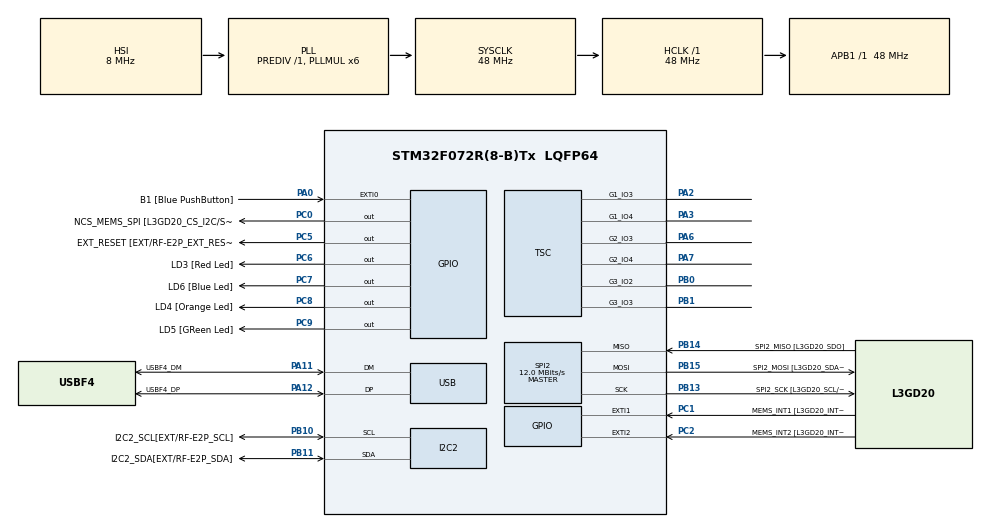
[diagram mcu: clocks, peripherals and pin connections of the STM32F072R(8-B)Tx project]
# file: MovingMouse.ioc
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I2C2.Timing=0x20303E5D
Mcu.Family=STM32F0
Mcu.Name=STM32F072R(8-B)Tx
Mcu.Package=LQFP64
NVIC.EXTI0_1_IRQn=true\:0\:0\:false\:false\:true\:true\:true
NVIC.USB_IRQn=true\:0\:0\:false\:false\:true\:false\:true
PA0.GPIO_Label=B1 [Blue PushButton]
PA0.GPIO_ModeDefaultEXTI=GPIO_MODE_IT_RISING
PA0.Signal=GPXTI0
PA11.GPIO_Label=USBF4_DM
PA11.Mode=Device
PA11.Signal=USB_DM
PA12.GPIO_Label=USBF4_DP
PA12.Mode=Device
PA12.Signal=USB_DP
PA13.GPIO_Label=SWDIO
PA13.Mode=Serial_Wire
PA13.Signal=SYS_SWDIO
PA14.GPIO_Label=SWCLK
PA14.Mode=Serial_Wire
PA14.Signal=SYS_SWCLK
PA2.Mode=G1_IO3-Channel
PA2.Signal=TSC_G1_IO3
PA3.Mode=G1_IO4-Sampling
PA3.Signal=TSC_G1_IO4
PA6.Mode=G2_IO3-Channel
PA6.Signal=TSC_G2_IO3
PA7.Mode=G2_IO4-Sampling
PA7.Signal=TSC_G2_IO4
PB0.Mode=G3_IO2-Channel
PB0.Signal=TSC_G3_IO2
PB1.Mode=G3_IO3-Sampling
PB1.Signal=TSC_G3_IO3
PB10.GPIO_Label=I2C2_SCL[EXT/RF-E2P_SCL]
PB10.Mode=I2C
PB10.Signal=I2C2_SCL
PB11.GPIO_Label=I2C2_SDA[EXT/RF-E2P_SDA]
PB11.Mode=I2C
PB11.Signal=I2C2_SDA
PB13.GPIO_Label=SPI2_SCK [L3GD20_SCL/SPC]
PB13.Mode=Full_Duplex_Master
PB13.Signal=SPI2_SCK
PB14.GPIO_Label=SPI2_MISO [L3GD20_SDO]
PB14.Mode=Full_Duplex_Master
PB14.Signal=SPI2_MISO
PB15.GPIO_Label=SPI2_MOSI [L3GD20_SDA/SDI]
PB15.Mode=Full_Duplex_Master
PB15.Signal=SPI2_MOSI
PC0.GPIO_Label=NCS_MEMS_SPI [L3GD20_CS_I2C/SPI]
PC0.Signal=GPIO_Output
PC1.GPIO_Label=MEMS_INT1 [L3GD20_INT1]
PC1.GPIO_ModeDefaultEXTI=GPIO_MODE_EVT_RISING
PC1.Signal=GPXTI1
PC2.GPIO_Label=MEMS_INT2 [L3GD20_INT2]
PC2.GPIO_ModeDefaultEXTI=GPIO_MODE_EVT_RISING
PC2.Signal=GPXTI2
PC5.GPIO_Label=EXT_RESET [EXT/RF-E2P_EXT_RESET]
PC5.Signal=GPIO_Output
PC6.GPIO_Label=LD3 [Red Led]
PC6.Signal=GPIO_Output
PC7.GPIO_Label=LD6 [Blue Led]
PC7.Signal=GPIO_Output
PC8.GPIO_Label=LD4 [Orange Led]
PC8.Signal=GPIO_Output
PC9.GPIO_Label=LD5 [GReen Led]
PC9.Signal=GPIO_Output
ProjectManager.HeapSize=0x200
ProjectManager.StackSize=0x400
ProjectManager.TargetToolchain=STM32CubeIDE
RCC.AHBFreq_Value=48000000
RCC.APB1Freq_Value=48000000
RCC.APB1TimFreq_Value=48000000
RCC.HCLKFreq_Value=48000000
RCC.PLLMUL=RCC_PLL_MUL6
RCC.SYSCLKFreq_VALUE=48000000
RCC.SYSCLKSource=RCC_SYSCLKSOURCE_PLLCLK
SPI2.BaudRatePrescaler=SPI_BAUDRATEPRESCALER_4
SPI2.CalculateBaudRate=12.0 MBits/s
SPI2.Direction=SPI_DIRECTION_2LINES
SPI2.Mode=SPI_MODE_MASTER
SPI2.VirtualType=VM_MASTER
TSC.ChannelIOs-G1_IO3-Channel=TSC_GROUP1_IO3
TSC.ChannelIOs-G2_IO3-Channel=TSC_GROUP2_IO3
TSC.ChannelIOs-G3_IO2-Channel=TSC_GROUP3_IO2
TSC.SamplingIOs-G1_IO4-Sampling=TSC_GROUP1_IO4
TSC.SamplingIOs-G2_IO4-Sampling=TSC_GROUP2_IO4
TSC.SamplingIOs-G3_IO3-Sampling=TSC_GROUP3_IO3
USB.phy_itface=PCD_PHY_EMBEDDED
USB.speed=PCD_SPEED_FULL
USB_DEVICE.CLASS_NAME_FS=HID
USB_DEVICE.VirtualMode=Hid
USB_DEVICE.VirtualModeFS=Hid_FS
VP_USB_DEVICE_VS_USB_DEVICE_HID_FS.Mode=HID_FS
board=STM32F072B-DISCO

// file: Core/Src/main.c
/* USER CODE BEGIN Header */
/**
  ******************************************************************************
  * @file           : main.c
  * @brief          : Main program body
  ******************************************************************************
  * @attention
  *
  * <h2><center>&copy; Copyright (c) 2020 STMicroelectronics.
  * All rights reserved.</center></h2>
  *
  * This software component is licensed by ST under BSD 3-Clause license,
  * the "License"; You may not use this file except in compliance with the
  * License. You may obtain a copy of the License at:
  *                        opensource.org/licenses/BSD-3-Clause
  *
  ******************************************************************************
  */
/* USER CODE END Header */
#include "main.h"
#include "usb_device.h"

/* USER CODE BEGIN Includes */
#include "usbd_hid.h"
#include <math.h>
#include <stdbool.h>

/* USER CODE END Includes */

I2C_HandleTypeDef hi2c2;

SPI_HandleTypeDef hspi2;

TSC_HandleTypeDef htsc;

/* USER CODE BEGIN PV */
bool gEnableMove = false;

/* USER CODE END PV */

void SystemClock_Config(void);
static void MX_GPIO_Init(void);
static void MX_I2C2_Init(void);
static void MX_SPI2_Init(void);
static void MX_TSC_Init(void);

int main(void)
{
  /* USER CODE BEGIN 1 */
	extern USBD_HandleTypeDef hUsbDeviceFS;

	// HID Mouse
	  struct mouseHID_t {
	      uint8_t buttons;
	      int8_t x;
	      int8_t y;
	      int8_t wheel;
	  };
	  struct mouseHID_t mouseHID;
	  mouseHID.buttons = 0;
	  mouseHID.x = 10;
	  mouseHID.y = 0;
	  mouseHID.wheel = 0;
  /* USER CODE END 1 */

  /* MCU Configuration--------------------------------------------------------*/

  /* Reset of all peripherals, Initializes the Flash interface and the Systick. */
  HAL_Init();

  /* Configure the system clock */
  SystemClock_Config();

  /* Initialize all configured peripherals */
  MX_GPIO_Init();
  MX_I2C2_Init();
  MX_SPI2_Init();
  MX_TSC_Init();
  MX_USB_DEVICE_Init();
  /* USER CODE BEGIN 2 */
  const int kEdgeSteps = 50;
  const int kStepSize = 4;
  const int kBoundingBoxSize = 1;
  int curXDir = 0;
  int curYDir = 0;
  int xAccum = 0;
  int yAccum = 0;
  int stepCount = 0;
  /* USER CODE END 2 */

  /* Infinite loop */
  while (1)
  {

    /* USER CODE BEGIN 3 */
	  if (gEnableMove)
	  {
		  // Send HID report
		  if (stepCount % kEdgeSteps == 0)
		  {
			  curXDir = rand() % 3 - 1; // -1, 0, 1
			  curYDir = rand() % 3 - 1;

			  int tmpXAcc = xAccum + curXDir;
			  int tmpYAcc = yAccum + curYDir;

			  if (tmpXAcc > kBoundingBoxSize || tmpXAcc < 0)
			  {
				  curXDir = -curXDir;
			  }

			  if (tmpYAcc > kBoundingBoxSize || tmpYAcc < 0)
			  {
				  curYDir = -curYDir;
			  }

			  xAccum += curXDir;
			  yAccum += curYDir;
			  stepCount = 0;

			  // Send right click
			  HAL_Delay(200);
			  mouseHID.x = 0;
			  mouseHID.y = 0;
			  mouseHID.buttons = 0x2;
			  USBD_HID_SendReport(&hUsbDeviceFS, (uint8_t*)&mouseHID, sizeof(struct mouseHID_t));
			  HAL_Delay(100);
			  mouseHID.buttons = 0x0;
			  USBD_HID_SendReport(&hUsbDeviceFS, (uint8_t*)&mouseHID, sizeof(struct mouseHID_t));
			  HAL_Delay(200);
		  }

		  mouseHID.x = kStepSize * curXDir;
		  mouseHID.y = kStepSize * curYDir;
		  USBD_HID_SendReport(&hUsbDeviceFS, (uint8_t*)&mouseHID, sizeof(struct mouseHID_t));

	  }

	  if (stepCount % 50 == 0)
		  HAL_GPIO_TogglePin(LD6_GPIO_Port, LD6_Pin);

	  stepCount++;

	  HAL_Delay(20);
  }
  /* USER CODE END 3 */
}

void SystemClock_Config(void)
{
  RCC_OscInitTypeDef RCC_OscInitStruct = {0};
  RCC_ClkInitTypeDef RCC_ClkInitStruct = {0};
  RCC_PeriphCLKInitTypeDef PeriphClkInit = {0};

  /** Initializes the RCC Oscillators according to the specified parameters
  * in the RCC_OscInitTypeDef structure.
  */
  RCC_OscInitStruct.OscillatorType = RCC_OSCILLATORTYPE_HSI|RCC_OSCILLATORTYPE_HSI48;
  RCC_OscInitStruct.HSIState = RCC_HSI_ON;
  RCC_OscInitStruct.HSI48State = RCC_HSI48_ON;
  RCC_OscInitStruct.HSICalibrationValue = RCC_HSICALIBRATION_DEFAULT;
  RCC_OscInitStruct.PLL.PLLState = RCC_PLL_ON;
  RCC_OscInitStruct.PLL.PLLSource = RCC_PLLSOURCE_HSI;
  RCC_OscInitStruct.PLL.PLLMUL = RCC_PLL_MUL6;
  RCC_OscInitStruct.PLL.PREDIV = RCC_PREDIV_DIV1;
  if (HAL_RCC_OscConfig(&RCC_OscInitStruct) != HAL_OK)
  {
    Error_Handler();
  }
  /** Initializes the CPU, AHB and APB buses clocks
  */
  RCC_ClkInitStruct.ClockType = RCC_CLOCKTYPE_HCLK|RCC_CLOCKTYPE_SYSCLK
                              |RCC_CLOCKTYPE_PCLK1;
  RCC_ClkInitStruct.SYSCLKSource = RCC_SYSCLKSOURCE_PLLCLK;
  RCC_ClkInitStruct.AHBCLKDivider = RCC_SYSCLK_DIV1;
  RCC_ClkInitStruct.APB1CLKDivider = RCC_HCLK_DIV1;

  if (HAL_RCC_ClockConfig(&RCC_ClkInitStruct, FLASH_LATENCY_1) != HAL_OK)
  {
    Error_Handler();
  }
  PeriphClkInit.PeriphClockSelection = RCC_PERIPHCLK_USB;
  PeriphClkInit.UsbClockSelection = RCC_USBCLKSOURCE_HSI48;

  if (HAL_RCCEx_PeriphCLKConfig(&PeriphClkInit) != HAL_OK)
  {
    Error_Handler();
  }
}

static void MX_I2C2_Init(void)
{

  hi2c2.Instance = I2C2;
  hi2c2.Init.Timing = 0x20303E5D;
  hi2c2.Init.OwnAddress1 = 0;
  hi2c2.Init.AddressingMode = I2C_ADDRESSINGMODE_7BIT;
  hi2c2.Init.DualAddressMode = I2C_DUALADDRESS_DISABLE;
  hi2c2.Init.OwnAddress2 = 0;
  hi2c2.Init.OwnAddress2Masks = I2C_OA2_NOMASK;
  hi2c2.Init.GeneralCallMode = I2C_GENERALCALL_DISABLE;
  hi2c2.Init.NoStretchMode = I2C_NOSTRETCH_DISABLE;
  if (HAL_I2C_Init(&hi2c2) != HAL_OK)
  {
    Error_Handler();
  }
  /** Configure Analogue filter
  */
  if (HAL_I2CEx_ConfigAnalogFilter(&hi2c2, I2C_ANALOGFILTER_ENABLE) != HAL_OK)
  {
    Error_Handler();
  }
  /** Configure Digital filter
  */
  if (HAL_I2CEx_ConfigDigitalFilter(&hi2c2, 0) != HAL_OK)
  {
    Error_Handler();
  }

}

static void MX_SPI2_Init(void)
{

  /* SPI2 parameter configuration*/
  hspi2.Instance = SPI2;
  hspi2.Init.Mode = SPI_MODE_MASTER;
  hspi2.Init.Direction = SPI_DIRECTION_2LINES;
  hspi2.Init.DataSize = SPI_DATASIZE_4BIT;
  hspi2.Init.CLKPolarity = SPI_POLARITY_LOW;
  hspi2.Init.CLKPhase = SPI_PHASE_1EDGE;
  hspi2.Init.NSS = SPI_NSS_SOFT;
  hspi2.Init.BaudRatePrescaler = SPI_BAUDRATEPRESCALER_4;
  hspi2.Init.FirstBit = SPI_FIRSTBIT_MSB;
  hspi2.Init.TIMode = SPI_TIMODE_DISABLE;
  hspi2.Init.CRCCalculation = SPI_CRCCALCULATION_DISABLE;
  hspi2.Init.CRCPolynomial = 7;
  hspi2.Init.CRCLength = SPI_CRC_LENGTH_DATASIZE;
  hspi2.Init.NSSPMode = SPI_NSS_PULSE_ENABLE;
  if (HAL_SPI_Init(&hspi2) != HAL_OK)
  {
    Error_Handler();
  }

}

static void MX_TSC_Init(void)
{

  /** Configure the TSC peripheral
  */
  htsc.Instance = TSC;
  htsc.Init.CTPulseHighLength = TSC_CTPH_2CYCLES;
  htsc.Init.CTPulseLowLength = TSC_CTPL_2CYCLES;
  htsc.Init.SpreadSpectrum = DISABLE;
  htsc.Init.SpreadSpectrumDeviation = 1;
  htsc.Init.SpreadSpectrumPrescaler = TSC_SS_PRESC_DIV1;
  htsc.Init.PulseGeneratorPrescaler = TSC_PG_PRESC_DIV4;
  htsc.Init.MaxCountValue = TSC_MCV_8191;
  htsc.Init.IODefaultMode = TSC_IODEF_OUT_PP_LOW;
  htsc.Init.SynchroPinPolarity = TSC_SYNC_POLARITY_FALLING;
  htsc.Init.AcquisitionMode = TSC_ACQ_MODE_NORMAL;
  htsc.Init.MaxCountInterrupt = DISABLE;
  htsc.Init.ChannelIOs = TSC_GROUP1_IO3|TSC_GROUP2_IO3|TSC_GROUP3_IO2;
  htsc.Init.ShieldIOs = 0;
  htsc.Init.SamplingIOs = TSC_GROUP1_IO4|TSC_GROUP2_IO4|TSC_GROUP3_IO3;
  if (HAL_TSC_Init(&htsc) != HAL_OK)
  {
    Error_Handler();
  }

}

static void MX_GPIO_Init(void)
{
  GPIO_InitTypeDef GPIO_InitStruct = {0};

  /* GPIO Ports Clock Enable */
  __HAL_RCC_GPIOC_CLK_ENABLE();
  __HAL_RCC_GPIOA_CLK_ENABLE();
  __HAL_RCC_GPIOB_CLK_ENABLE();

  /*Configure GPIO pin Output Level */
  HAL_GPIO_WritePin(GPIOC, NCS_MEMS_SPI_Pin|EXT_RESET_Pin|LD3_Pin|LD6_Pin
                          |LD4_Pin|LD5_Pin, GPIO_PIN_RESET);

  /*Configure GPIO pins : NCS_MEMS_SPI_Pin EXT_RESET_Pin LD3_Pin LD6_Pin
                           LD4_Pin LD5_Pin */
  GPIO_InitStruct.Pin = NCS_MEMS_SPI_Pin|EXT_RESET_Pin|LD3_Pin|LD6_Pin
                          |LD4_Pin|LD5_Pin;
  GPIO_InitStruct.Mode = GPIO_MODE_OUTPUT_PP;
  GPIO_InitStruct.Pull = GPIO_NOPULL;
  GPIO_InitStruct.Speed = GPIO_SPEED_FREQ_LOW;
  HAL_GPIO_Init(GPIOC, &GPIO_InitStruct);

  /*Configure GPIO pins : MEMS_INT1_Pin MEMS_INT2_Pin */
  GPIO_InitStruct.Pin = MEMS_INT1_Pin|MEMS_INT2_Pin;
  GPIO_InitStruct.Mode = GPIO_MODE_EVT_RISING;
  GPIO_InitStruct.Pull = GPIO_NOPULL;
  HAL_GPIO_Init(GPIOC, &GPIO_InitStruct);

  /*Configure GPIO pin : B1_Pin */
  GPIO_InitStruct.Pin = B1_Pin;
  GPIO_InitStruct.Mode = GPIO_MODE_IT_RISING;
  GPIO_InitStruct.Pull = GPIO_NOPULL;
  HAL_GPIO_Init(B1_GPIO_Port, &GPIO_InitStruct);

  /* EXTI interrupt init*/
  HAL_NVIC_SetPriority(EXTI0_1_IRQn, 0, 0);
  HAL_NVIC_EnableIRQ(EXTI0_1_IRQn);

}

/* USER CODE BEGIN 4 */
void HAL_GPIO_EXTI_Callback(uint16_t GPIO_Pin)
{
  /* Prevent unused argument(s) compilation warning */
	if (GPIO_Pin == B1_Pin)
	{
		GPIO_PinState state = HAL_GPIO_ReadPin(B1_GPIO_Port, B1_Pin);
		if (state == GPIO_PIN_SET)
		{
			gEnableMove = !gEnableMove;
			HAL_GPIO_WritePin(LD4_GPIO_Port, LD4_Pin, gEnableMove ? GPIO_PIN_SET: GPIO_PIN_RESET);
		}
	}
}
/* USER CODE END 4 */

void Error_Handler(void)
{
}

/************************ (C) COPYRIGHT STMicroelectronics *****END OF FILE****/
